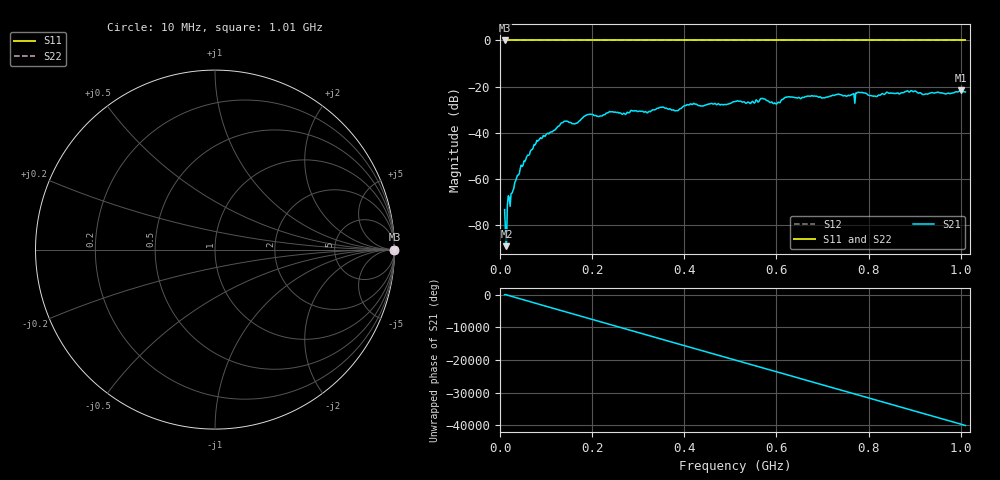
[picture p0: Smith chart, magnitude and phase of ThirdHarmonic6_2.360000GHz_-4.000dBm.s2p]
! 8/17/2025 3:37:00 AM
! C:\ANRITSUVNA\TEMP\TEMP.S2P
! CHANNEL.1
! TR.MEASUREMENT
! RAW.DATA
! RF.CORRECTION.OFF
! AVERAGING.OFF
! IF.BANDWIDTH: 5KHZ
! SWEEPTYPE:  FREQ.SWEEP(Linear)
! Reference Plane Port Info
! PORT:  PORT1  PORT2
! DISTANCE:  0  m  0  m
! TIME:  0  s  0  s
! PHASE.OFFSET:  0  deg.  0  deg.
! LOSS:  0  dB  0  dB
! REF.LOSS:  0  dB  0  dB
! REF.FREQ:  0  Hz  0  Hz
! Power Info
! POWER:  -20  dBm  -20  dBm
! EFF.POWER:  -20  dBm  -20  dBm
! SOURCE.ATTEN:  0  dB  0  dB
! TEST.ATTEN:  0  dB  0  dB
# GHZ S RI R 50.0
! FREQ.GHZ  S11RE  S11IM  S21RE  S21IM  S12RE  S12IM  S22RE  S22IM
!; PortSelection: Port_12
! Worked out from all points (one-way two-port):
!   501 points, 10 MHz to 1.01 GHz, reference 50 ohm
!   highest |S21| = -21.62 dB at 1 GHz (marker M1); lowest = -89.3 dB at 14 MHz (marker M2)
!   lowest |S11| = 0.0 dB at 10 MHz (marker M3)
!   |S11| at or under -10 dB: nowhere
!   |S22| runs from 0.0 to 0.0 dB; largest |S21 - S12| = 1.1
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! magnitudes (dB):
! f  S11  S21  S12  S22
! 10 MHz  0.0  -73.4  0.0  0.0
! 14 MHz  0.0  -89.3  0.0  0.0
! 20 MHz  0.0  -68.0  0.0  0.0
! 42 MHz  0.0  -57.7  0.0  0.0
! 78 MHz  0.0  -44.6  0.0  0.0
! 136 MHz  0.0  -35.6  0.0  0.0
! 164 MHz  0.0  -36.1  0.0  0.0
! 178 MHz  0.0  -33.8  0.0  0.0
! 194 MHz  0.0  -32.1  0.0  0.0
! 322 MHz  0.0  -31.0  0.0  0.0
! 344 MHz  0.0  -29.4  0.0  0.0
! 382 MHz  0.0  -30.4  0.0  0.0
! 410 MHz  0.0  -28.0  0.0  0.0
! 510 MHz  0.0  -26.5  0.0  0.0
! 570 MHz  0.0  -25.2  0.0  0.0
! 596 MHz  0.0  -27.1  0.0  0.0
! 624 MHz  0.0  -24.6  0.0  0.0
! 678 MHz  0.0  -24.0  0.0  0.0
! 814 MHz  0.0  -24.1  0.0  0.0
! 844 MHz  0.0  -22.9  0.0  0.0
! 1 GHz  0.0  -21.6  0.0  0.0
! 1.01 GHz  0.0  -22.3  0.0  0.0
